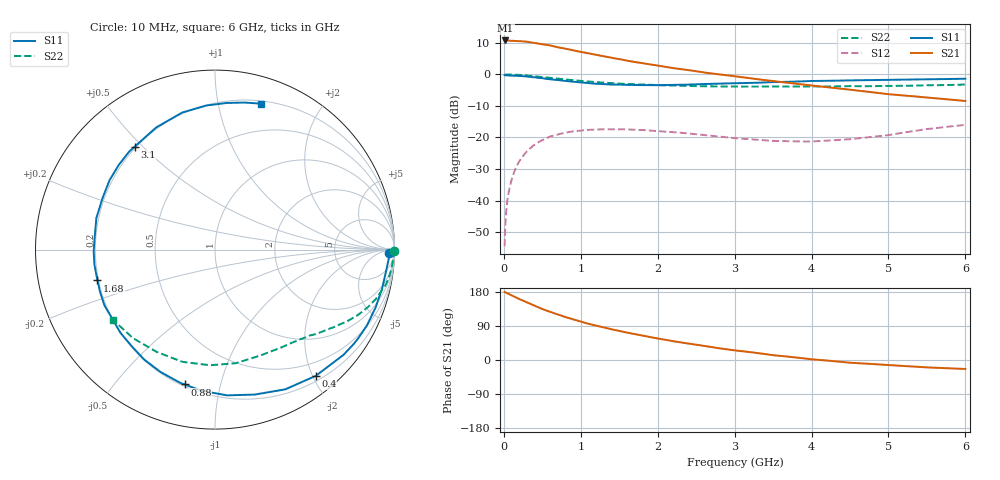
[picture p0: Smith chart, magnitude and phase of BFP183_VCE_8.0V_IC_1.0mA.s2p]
! Infineon Technologies  Discrete & RF Semiconductors
! BFP183
! VCE = 8.0 V,  IC =  1.0 mA
! Common Emitter S-Parameters:  Jan 2016
# GHz  S  MA  R  50
!  f  S11  S21  S12  S22
! GHz  MAG  ANG  MAG  ANG  MAG  ANG  MAG  ANG
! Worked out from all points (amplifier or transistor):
!   210 points, 10 MHz to 6 GHz, reference 50 ohm
!   highest |S21| = 10.7 dB at 20 MHz (marker M1)
!   |S21| within 3 dB of that: start of sweep to 875.5 MHz
!   unconditionally stable (mu >= 1): 2.506 GHz to end of sweep
!   at 185 MHz: K = 0.07, MSG = 19.4 dB, |S12| = -28.2 dB
!   at 1.52 GHz: K = 0.57, MSG = 11.1 dB, |S12| = -17.4 dB
!   at 6 GHz: K = 1.06, MAG = 2.3 dB, |S12| = -16.0 dB
!   S11 on the Smith chart (normalised r, x): 10 MHz: 45, -32; 400 MHz: 0.28, -2.05; 880 MHz: 0.21, -0.78; 1.68 GHz: 0.20, -0.12; 3.1 GHz: 0.19, +0.47; 6 GHz: 0.22, +1.34
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0.01  0.971 -1.2  3.437 179.3  0.0019 84.1  0.9999 -0.5
0.02  0.9699 -2.8  3.443 178.7  0.0043 89.0  0.9893 -0.9
0.035  0.9652 -4.7  3.435 177.0  0.0076 88.1  0.992 -1.6
0.055  0.9605 -7.3  3.426 174.8  0.012 86.5  0.9945 -2.4
0.135  0.9512 -17.9  3.376 167.3  0.0287 78.7  0.9884 -6.2
0.2  0.9461 -26.5  3.364 161.0  0.0418 74.2  0.9809 -9.1
0.3  0.9256 -39.3  3.292 152.3  0.0604 66.2  0.9597 -13.3
0.4  0.9 -51.4  3.152 143.0  0.0772 58.9  0.9374 -17.1
0.5  0.8715 -63.3  3 134.5  0.091 52.1  0.9095 -20.7
0.6  0.8374 -74.7  2.876 127.1  0.1034 45.9  0.8824 -23.9
0.7  0.815 -85.2  2.687 120.0  0.112 40.3  0.8561 -26.6
0.88  0.7701 -102.7  2.431 108.4  0.1239 31.4  0.8126 -30.8
1.02  0.7414 -115.7  2.247 100.1  0.1297 25.6  0.7841 -33.8
1.3  0.7017 -138.7  1.927 85.8  0.1349 15.5  0.7398 -38.9
1.5  0.6898 -153.3  1.746 76.5  0.1344 10.3  0.7133 -42.1
1.68  0.677 -165.3  1.586 69.2  0.1329 5.8  0.697 -45.0
2.02  0.6739 174.4  1.365 56.1  0.1263 0.0  0.6733 -50.3
2.6  0.7036 146.6  1.07 37.2  0.1094 -5.5  0.648 -60.7
3.1  0.7275 128.0  0.9 23.2  0.0957 -4.0  0.639 -71.0
4.1  0.7872 101.3  0.646 0.3  0.0877 12.9  0.6431 -95.2
5.1  0.8219 84.0  0.474 -14.7  0.1144 27.5  0.6566 -122.4
6  0.8524 72.6  0.379 -23.7  0.1585 24.9  0.6904 -145.5
